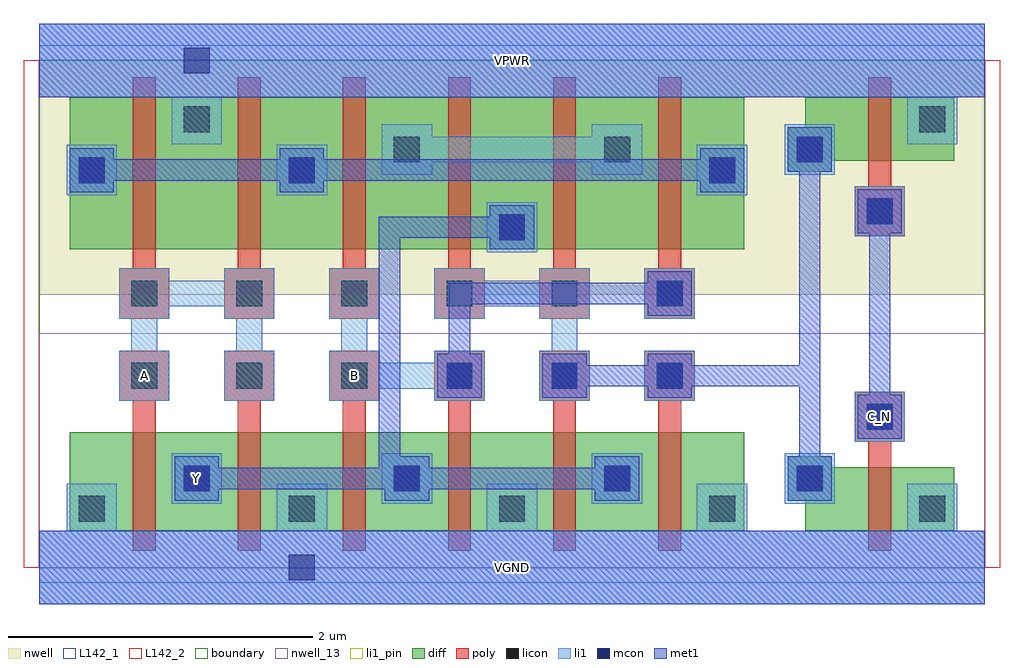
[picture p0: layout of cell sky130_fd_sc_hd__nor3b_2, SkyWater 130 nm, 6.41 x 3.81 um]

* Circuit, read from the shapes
.subckt sky130_fd_sc_hd__nor3b_2 A B C_N VGND VPWR Y
XM1 Y A VGND VSUBS sky130_fd_pr__nfet_01v8 w=0.65 l=0.15 m=2
XM2 Y B VGND VSUBS sky130_fd_pr__nfet_01v8 w=0.65 l=0.15 m=2
XM3 Y n1 VGND VSUBS sky130_fd_pr__nfet_01v8 w=0.65 l=0.15 m=2
XM4 VGND C_N n1 VSUBS sky130_fd_pr__nfet_01v8 w=0.42 l=0.15
XM5 VPWR A n2 n3 sky130_fd_pr__pfet_01v8 w=1 l=0.15 m=2
XM6 n4 B n2 n3 sky130_fd_pr__pfet_01v8 w=1 l=0.15 m=2
XM7 Y n1 n4 n3 sky130_fd_pr__pfet_01v8 w=1 l=0.15 m=2
XM8 VPWR C_N n1 n3 sky130_fd_pr__pfet_01v8 w=0.42 l=0.15
.ends

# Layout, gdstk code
import gdstk
lib = gdstk.Library(unit=1e-6, precision=1e-09)
def R(c, l, rs):  # rectangles x0, y0, x1, y1
    for r in rs: c.add(gdstk.rectangle(r[:2], r[2:], *l))
def A(c, l, x, y, w, h, nx, ny, dx, dy):  # array of equal rectangles
    R(c, l, [(x+i*dx, y+j*dy, x+i*dx+w, y+j*dy+h) for i in range(nx) for j in range(ny)])
def P(c, l, *ps):  # polygons
    for p in ps: c.add(gdstk.Polygon(p, *l))
nwell_13 = (64, 13)
nwell = (64, 20)
diff = (65, 20)
poly = (66, 20)
licon = (66, 44)
li1_pin = (67, 16)
li1 = (67, 20)
mcon = (67, 44)
met1 = (68, 20)
L142_1 = (142, 1)
L142_2 = (142, 2)
boundary = (235, 4)

sky130_fd_sc_hd__nor3b_2 = lib.new_cell('sky130_fd_sc_hd__nor3b_2')
R(sky130_fd_sc_hd__nor3b_2, nwell_13, [(0,0,6.21,1.54)])
R(sky130_fd_sc_hd__nor3b_2, nwell, [(0,1.79,6.21,3.33)])
A(sky130_fd_sc_hd__nor3b_2, diff, 0.615, 0.24, 0.69, 0.65, 5, 1, 0.69, 0)
A(sky130_fd_sc_hd__nor3b_2, diff, 0.615, 2.09, 0.69, 1, 5, 1, 0.69, 0)
R(sky130_fd_sc_hd__nor3b_2, diff, [(0.2,0.24,4.63,0.89), (0.2,0.24,0.615,0.89), (4.065,0.24,4.63,0.89), (5.03,0.24,6.01,0.66), (5.445,0.24,6.01,0.66), (0.2,2.09,4.63,3.09), (0.2,2.09,0.615,3.09), (4.065,2.09,4.63,3.09), (5.03,2.67,6.01,3.09), (5.445,2.67,6.01,3.09)])
P(sky130_fd_sc_hd__nor3b_2, diff, [(5.03,0.24),(5.03,0.44),(4.915,0.44),(4.915,0.73),(5.205,0.73),(5.205,0.66),(5.445,0.66),(5.445,0.24)],
  [(4.915,2.6),(4.915,2.89),(5.03,2.89),(5.03,3.09),(5.445,3.09),(5.445,2.67),(5.205,2.67),(5.205,2.6)])
P(sky130_fd_sc_hd__nor3b_2, poly, [(1.995,0.11),(1.995,1.095),(1.905,1.095),(1.905,1.425),(2.235,1.425),(2.235,1.095),(2.145,1.095),(2.145,0.11)],
  [(2.685,0.11),(2.685,1.095),(2.595,1.095),(2.595,1.425),(2.925,1.425),(2.925,1.095),(2.835,1.095),(2.835,0.11)],
  [(1.905,1.635),(1.905,1.965),(1.995,1.965),(1.995,3.22),(2.145,3.22),(2.145,1.965),(2.235,1.965),(2.235,1.635)],
  [(3.975,1.635),(3.975,1.965),(4.065,1.965),(4.065,3.22),(4.215,3.22),(4.215,1.965),(4.305,1.965),(4.305,1.635)],
  [(3.375,0.11),(3.375,1.095),(3.285,1.095),(3.285,1.425),(3.615,1.425),(3.615,1.095),(3.525,1.095),(3.525,0.11)],
  [(4.065,0.11),(4.065,1.095),(3.975,1.095),(3.975,1.425),(4.305,1.425),(4.305,1.095),(4.215,1.095),(4.215,0.11)],
  [(2.595,1.635),(2.595,1.965),(2.685,1.965),(2.685,3.22),(2.835,3.22),(2.835,1.965),(2.925,1.965),(2.925,1.635)],
  [(3.285,1.635),(3.285,1.965),(3.375,1.965),(3.375,3.22),(3.525,3.22),(3.525,1.965),(3.615,1.965),(3.615,1.635)],
  [(0.615,0.11),(0.615,1.095),(0.525,1.095),(0.525,1.425),(0.855,1.425),(0.855,1.095),(0.765,1.095),(0.765,0.11)],
  [(1.305,0.11),(1.305,1.095),(1.215,1.095),(1.215,1.425),(1.545,1.425),(1.545,1.095),(1.455,1.095),(1.455,0.11)],
  [(0.525,1.635),(0.525,1.965),(0.615,1.965),(0.615,3.22),(0.765,3.22),(0.765,1.965),(0.855,1.965),(0.855,1.635)],
  [(1.215,1.635),(1.215,1.965),(1.305,1.965),(1.305,3.22),(1.455,3.22),(1.455,1.965),(1.545,1.965),(1.545,1.635)],
  [(5.445,0.11),(5.445,0.825),(5.355,0.825),(5.355,1.155),(5.685,1.155),(5.685,0.825),(5.595,0.825),(5.595,0.11)],
  [(5.355,2.175),(5.355,2.505),(5.445,2.505),(5.445,3.22),(5.595,3.22),(5.595,2.505),(5.685,2.505),(5.685,2.175)])
A(sky130_fd_sc_hd__nor3b_2, licon, 0.26, 0.3, 0.17, 0.17, 5, 1, 1.38, 0)
A(sky130_fd_sc_hd__nor3b_2, licon, 0.95, 0.5, 0.17, 0.17, 3, 1, 1.38, 0)
A(sky130_fd_sc_hd__nor3b_2, licon, 0.605, 1.175, 0.17, 0.17, 6, 2, 0.69, 0.54)
R(sky130_fd_sc_hd__nor3b_2, licon, [(4.975,0.5,5.145,0.67), (5.435,0.905,5.605,1.075), (3.02,2.15,3.19,2.32), (5.435,2.255,5.605,2.425), (0.26,2.525,0.43,2.695), (1.64,2.525,1.81,2.695), (4.4,2.525,4.57,2.695), (2.33,2.66,2.5,2.83), (3.71,2.66,3.88,2.83), (4.975,2.66,5.145,2.83), (0.95,2.86,1.12,3.03), (5.78,2.86,5.95,3.03)])
R(sky130_fd_sc_hd__nor3b_2, li1_pin, [(0,-0.24,6.21,0.24), (0.87,0.42,1.2,0.75), (5.355,0.825,5.685,1.155), (0,3.09,6.21,3.57)])
P(sky130_fd_sc_hd__nor3b_2, li1_pin, [(1.905,1.095),(1.905,1.425),(1.985,1.425),(1.985,1.635),(1.905,1.635),(1.905,1.965),(2.235,1.965),(2.235,1.635),(2.155,1.635),(2.155,1.425),(2.235,1.425),(2.235,1.345),(2.595,1.345),(2.595,1.425),(2.925,1.425),(2.925,1.095),(2.595,1.095),(2.595,1.175),(2.235,1.175),(2.235,1.095)],
  [(0.525,1.095),(0.525,1.425),(0.605,1.425),(0.605,1.635),(0.525,1.635),(0.525,1.965),(0.855,1.965),(0.855,1.885),(1.215,1.885),(1.215,1.965),(1.545,1.965),(1.545,1.635),(1.465,1.635),(1.465,1.425),(1.545,1.425),(1.545,1.095),(1.215,1.095),(1.215,1.425),(1.295,1.425),(1.295,1.635),(1.215,1.635),(1.215,1.715),(0.855,1.715),(0.855,1.635),(0.775,1.635),(0.775,1.425),(0.855,1.425),(0.855,1.095)])
A(sky130_fd_sc_hd__nor3b_2, li1, 0.87, 0.42, 0.33, 0.33, 3, 1, 1.38, 0)
R(sky130_fd_sc_hd__nor3b_2, li1, [(4.895,0.42,5.225,0.75), (5.355,0.825,5.685,1.155), (3.975,1.095,4.305,1.425), (3.975,1.635,4.305,1.965), (2.94,2.07,3.27,2.4), (5.355,2.175,5.685,2.505), (0.18,2.445,0.51,2.775), (1.56,2.445,1.89,2.775), (4.32,2.445,4.65,2.775), (4.895,2.58,5.225,2.91)])
P(sky130_fd_sc_hd__nor3b_2, li1, [(1.905,1.095),(1.905,1.425),(1.985,1.425),(1.985,1.635),(1.905,1.635),(1.905,1.965),(2.235,1.965),(2.235,1.635),(2.155,1.635),(2.155,1.425),(2.235,1.425),(2.235,1.345),(2.595,1.345),(2.595,1.425),(2.925,1.425),(2.925,1.095),(2.595,1.095),(2.595,1.175),(2.235,1.175),(2.235,1.095)],
  [(0.87,2.78),(0.87,3.09),(0,3.09),(0,3.57),(6.21,3.57),(6.21,3.09),(6.03,3.09),(6.03,2.78),(5.7,2.78),(5.7,3.09),(1.2,3.09),(1.2,2.78)],
  [(3.285,1.095),(3.285,1.425),(3.365,1.425),(3.365,1.635),(3.285,1.635),(3.285,1.715),(2.925,1.715),(2.925,1.635),(2.595,1.635),(2.595,1.965),(2.925,1.965),(2.925,1.885),(3.285,1.885),(3.285,1.965),(3.615,1.965),(3.615,1.635),(3.535,1.635),(3.535,1.425),(3.615,1.425),(3.615,1.095)],
  [(0,-0.24),(0,0.24),(0.18,0.24),(0.18,0.55),(0.51,0.55),(0.51,0.24),(1.56,0.24),(1.56,0.55),(1.89,0.55),(1.89,0.24),(2.94,0.24),(2.94,0.55),(3.27,0.55),(3.27,0.24),(4.32,0.24),(4.32,0.55),(4.65,0.55),(4.65,0.24),(5.7,0.24),(5.7,0.55),(6.03,0.55),(6.03,0.24),(6.21,0.24),(6.21,-0.24)],
  [(0.525,1.095),(0.525,1.425),(0.605,1.425),(0.605,1.635),(0.525,1.635),(0.525,1.965),(0.855,1.965),(0.855,1.885),(1.215,1.885),(1.215,1.965),(1.545,1.965),(1.545,1.635),(1.465,1.635),(1.465,1.425),(1.545,1.425),(1.545,1.095),(1.215,1.095),(1.215,1.425),(1.295,1.425),(1.295,1.635),(1.215,1.635),(1.215,1.715),(0.855,1.715),(0.855,1.635),(0.775,1.635),(0.775,1.425),(0.855,1.425),(0.855,1.095)],
  [(2.25,2.58),(2.25,2.91),(2.58,2.91),(2.58,2.83),(3.63,2.83),(3.63,2.91),(3.96,2.91),(3.96,2.58),(3.63,2.58),(3.63,2.66),(2.58,2.66),(2.58,2.58)])
A(sky130_fd_sc_hd__nor3b_2, mcon, 0.95, 0.5, 0.17, 0.17, 3, 1, 1.38, 0)
A(sky130_fd_sc_hd__nor3b_2, mcon, 2.675, 1.175, 0.17, 0.17, 3, 1, 0.69, 0)
R(sky130_fd_sc_hd__nor3b_2, mcon, [(1.64,-0.085,1.81,0.085), (4.975,0.5,5.145,0.67), (5.435,0.905,5.605,1.075), (4.055,1.715,4.225,1.885), (3.02,2.15,3.19,2.32), (5.435,2.255,5.605,2.425), (0.26,2.525,0.43,2.695), (1.64,2.525,1.81,2.695), (4.4,2.525,4.57,2.695), (4.975,2.66,5.145,2.83), (0.95,3.245,1.12,3.415)])
R(sky130_fd_sc_hd__nor3b_2, met1, [(0,-0.24,6.21,0.24), (0,3.09,6.21,3.57)])
P(sky130_fd_sc_hd__nor3b_2, met1, [(2.615,1.115),(2.615,1.405),(2.69,1.405),(2.69,1.87),(3.995,1.87),(3.995,1.945),(4.285,1.945),(4.285,1.655),(3.995,1.655),(3.995,1.73),(2.83,1.73),(2.83,1.405),(2.905,1.405),(2.905,1.115)],
  [(0.89,0.44),(0.89,0.73),(1.18,0.73),(1.18,0.655),(2.23,0.655),(2.23,2.305),(2.96,2.305),(2.96,2.38),(3.25,2.38),(3.25,2.09),(2.96,2.09),(2.96,2.165),(2.37,2.165),(2.37,0.73),(2.56,0.73),(2.56,0.655),(3.65,0.655),(3.65,0.73),(3.94,0.73),(3.94,0.44),(3.65,0.44),(3.65,0.515),(2.56,0.515),(2.56,0.44),(2.27,0.44),(2.27,0.515),(1.18,0.515),(1.18,0.44)],
  [(0.2,2.465),(0.2,2.755),(0.49,2.755),(0.49,2.68),(1.58,2.68),(1.58,2.755),(1.87,2.755),(1.87,2.68),(4.34,2.68),(4.34,2.755),(4.63,2.755),(4.63,2.465),(4.34,2.465),(4.34,2.54),(1.87,2.54),(1.87,2.465),(1.58,2.465),(1.58,2.54),(0.49,2.54),(0.49,2.465)],
  [(4.915,0.44),(4.915,0.73),(4.99,0.73),(4.99,1.19),(4.285,1.19),(4.285,1.115),(3.995,1.115),(3.995,1.19),(3.595,1.19),(3.595,1.115),(3.305,1.115),(3.305,1.405),(3.595,1.405),(3.595,1.33),(3.995,1.33),(3.995,1.405),(4.285,1.405),(4.285,1.33),(4.99,1.33),(4.99,2.6),(4.915,2.6),(4.915,2.89),(5.205,2.89),(5.205,2.6),(5.13,2.6),(5.13,0.73),(5.205,0.73),(5.205,0.44)],
  [(5.375,0.845),(5.375,1.135),(5.45,1.135),(5.45,2.195),(5.375,2.195),(5.375,2.485),(5.665,2.485),(5.665,2.195),(5.59,2.195),(5.59,1.135),(5.665,1.135),(5.665,0.845)])
R(sky130_fd_sc_hd__nor3b_2, L142_1, [(0,-0.1,6.21,0), (0,3.33,6.21,3.43)])
R(sky130_fd_sc_hd__nor3b_2, L142_2, [(-0.1,0,0,3.33), (6.21,0,6.31,3.33)])
R(sky130_fd_sc_hd__nor3b_2, boundary, [(0,0,6.21,3.33)])
sky130_fd_sc_hd__nor3b_2.add(gdstk.Label('Y', (1.035,0.585), layer=67, texttype=5))
sky130_fd_sc_hd__nor3b_2.add(gdstk.Label('B', (2.07,1.26), layer=67, texttype=5))
sky130_fd_sc_hd__nor3b_2.add(gdstk.Label('A', (0.69,1.26), layer=67, texttype=5))
sky130_fd_sc_hd__nor3b_2.add(gdstk.Label('C_N', (5.52,0.99), layer=67, texttype=5))
sky130_fd_sc_hd__nor3b_2.add(gdstk.Label('VGND', (3.105,0), layer=67, texttype=5))
sky130_fd_sc_hd__nor3b_2.add(gdstk.Label('VPWR', (3.105,3.33), layer=67, texttype=5))
sky130_fd_sc_hd__nor3b_2.add(gdstk.Label('VGND', (3.105,0), layer=68, texttype=5))
sky130_fd_sc_hd__nor3b_2.add(gdstk.Label('VPWR', (3.105,3.33), layer=68, texttype=5))

lib.write_gds('sky130_fd_sc_hd__nor3b_2.gds')
